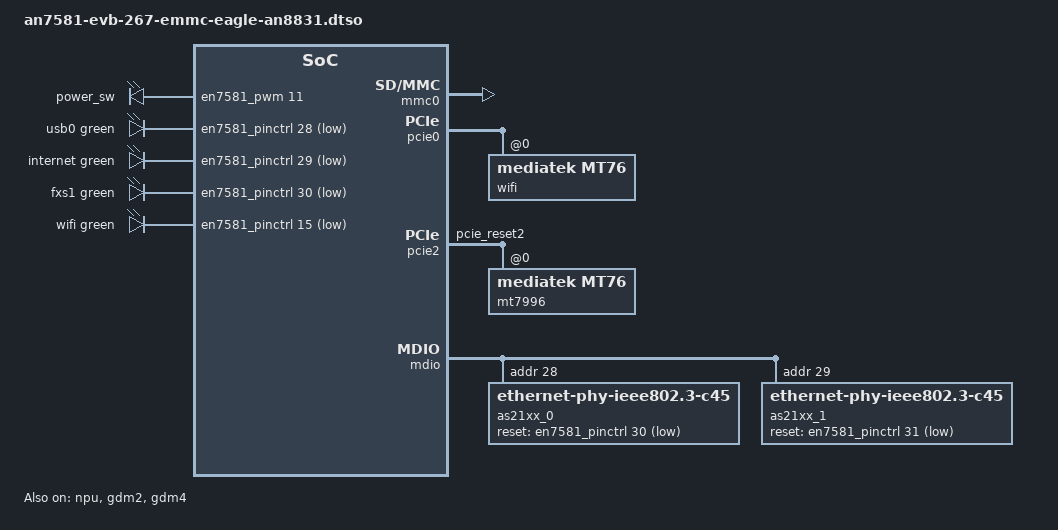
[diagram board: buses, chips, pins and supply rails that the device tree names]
/dts-v1/;
/plugin/;

#include <dt-bindings/gpio/gpio.h>
#include <dt-bindings/input/input.h>
#include <dt-bindings/leds/common.h>

&{/} {
	model = "Airoha AN7581 Evaluation Board  (Eagle + AN8831)";
	compatible ="airoha,an7581-evb-267-emmc-eagle-an8831", "airoha,an7581", "airoha,en7581","airoha,pon-upstream";

	pwmleds-0 {
		compatible = "pwm-leds";
		pinctrl-names = "default";
		pinctrl-0 = <&pwm_gpio27_idx11_pins>;

		pwm-0 {
			label = "power_sw";
			pwms = <&en7581_pwm 11 4000000 0>;
			max-brightness = <255>;
			active-low;
		};
	};
	
	leds {
		compatible = "gpio-leds";

		/*led-0 {
			label = "power_sw";
			color = <LED_COLOR_ID_GREEN>;
			function = LED_FUNCTION_POWER;
			gpios = <&en7581_pinctrl 27 GPIO_ACTIVE_LOW>;
			default-state = "on";
		};*/

		led-1 {
			label = "usb0";
			color = <LED_COLOR_ID_GREEN>;
			function = LED_FUNCTION_STATUS;
			gpios = <&en7581_pinctrl 28 GPIO_ACTIVE_LOW>;
			default-state = "on";
		};

		led-2 {
			label = "internet";
			color = <LED_COLOR_ID_GREEN>;
			function = LED_FUNCTION_STATUS;
			gpios = <&en7581_pinctrl 29 GPIO_ACTIVE_LOW>;
			default-state = "on";
		};

		led-3 {
			label = "fxs1";
			color = <LED_COLOR_ID_GREEN>;
			function = LED_FUNCTION_STATUS;
			gpios = <&en7581_pinctrl 30 GPIO_ACTIVE_LOW>;
			default-state = "on";
		};

		/*led-4 {
			label = "xponStatus";
			color = <LED_COLOR_ID_GREEN>;
			function = LED_FUNCTION_STATUS;
			gpios = <&en7581_pinctrl 34 GPIO_ACTIVE_LOW>;
			default-state = "on";
		};*/

		led-5 {
			label = "wifi";
			color = <LED_COLOR_ID_GREEN>;
			function = LED_FUNCTION_STATUS;
			gpios = <&en7581_pinctrl 15 GPIO_ACTIVE_LOW>;
			default-state = "on";
		};

		/*led-6 {
			label = "xponLos";
			color = <LED_COLOR_ID_RED>;
			function = LED_FUNCTION_STATUS;
			gpios = <&en7581_pinctrl 35 GPIO_ACTIVE_LOW>;
			default-state = "on";
		};*/
	};
};

&mmc0 {
	pinctrl-names = "default", "state_uhs";
	pinctrl-0 = <&mmc_pins>;
	pinctrl-1 = <&mmc_pins>;
	status = "okay";		
};
	
&en7581_pinctrl {
	pcie2_rst_pins: pcie2-rst-pins {
		conf {
			pins = "pcie_reset2";
			drive-open-drain = <1>;
		};
	};

	pwm_gpio27_idx11_pins: pwm-gpio27-idx11-pins {
		function = "pwm";
		pins = "gpio27";
		output-enable;
	};
};

&pcie0 {
	pinctrl-names = "default";
	pinctrl-0 = <&pcie0_rst_pins>;
	status = "okay";
	airoha,x2-mode;
	airoha,sister-pcie = <&pcie1>;

	pcie@0,0 {
		reg = <0x0000 0 0 0 0>;
		wifi@0,0 {
			compatible = "mediatek,mt76";
			reg = <0x0000 0 0 0 0>;

			airoha,npu = <&npu>;
			airoha,eth = <&eth>;
		};
	};
};

&pcie2 {
	pinctrl-names = "default";
	pinctrl-0 = <&pcie2_rst_pins>;
	status = "okay";

	pcie@2,0 {
		#address-cells = <3>;
		#size-cells = <2>;
		reg = <0x0000 0 0 0 0>;
		mt7996@1,0 {
			compatible = "mediatek,mt76";
			reg = <0x0000 0 0 0 0>;
	
			airoha,npu = <&npu>;
			airoha,eth = <&eth>;
		};
	};
};

&pcie1 {
	status = "disabled";
};

&npu {
	firmware-name="airoha/en7581_MT7996_npu_rv32.bin", "airoha/en7581_MT7996_npu_data.bin";
	status = "okay";
};

&mdio {
	as21xx_0: ethernet-phy@1c {
		compatible = "ethernet-phy-ieee802.3-c45";
		reg = <0x1c>;

		firmware-name = "as21x1x_fw.bin";

		reset-deassert-us = <1000000>;
		reset-assert-us = <1000000>;
		reset-gpios = <&en7581_pinctrl 30 GPIO_ACTIVE_LOW>;

		leds {
			#address-cells = <1>;
			#size-cells = <0>;

			led@0 {
				reg = <0>;
				color = <LED_COLOR_ID_GREEN>;
				function = LED_FUNCTION_LAN;
				function-enumerator = <0>;
				default-state = "keep";
			};

			led@1 {
				reg = <1>;
				color = <LED_COLOR_ID_GREEN>;
				function = LED_FUNCTION_LAN;
				function-enumerator = <1>;
				default-state = "keep";
			};
		};
	};

	as21xx_1: ethernet-phy@1d {
		compatible = "ethernet-phy-ieee802.3-c45";
		reg = <0x1d>;

		firmware-name = "as21x1x_fw.bin";

		reset-deassert-us = <1000000>;
		reset-assert-us = <1000000>;
		reset-gpios = <&en7581_pinctrl 31 GPIO_ACTIVE_LOW>;

		leds {
			#address-cells = <1>;
			#size-cells = <0>;

			led@0 {
				reg = <0>;
				color = <LED_COLOR_ID_GREEN>;
				function = LED_FUNCTION_LAN;
				function-enumerator = <0>;
				default-state = "keep";
			};

			led@1 {
				reg = <1>;
				color = <LED_COLOR_ID_GREEN>;
				function = LED_FUNCTION_LAN;
				function-enumerator = <1>;
				default-state = "keep";
			};
		};
	};
};


&gdm2 {
	status = "okay";
	managed = "in-band-status";
	phy-handle = <&as21xx_0>;
	phy-mode = "usxgmii";
};

&gdm4 {
	status = "okay";
	managed = "in-band-status";
	phy-handle = <&as21xx_1>;
	phy-mode = "usxgmii";
};
